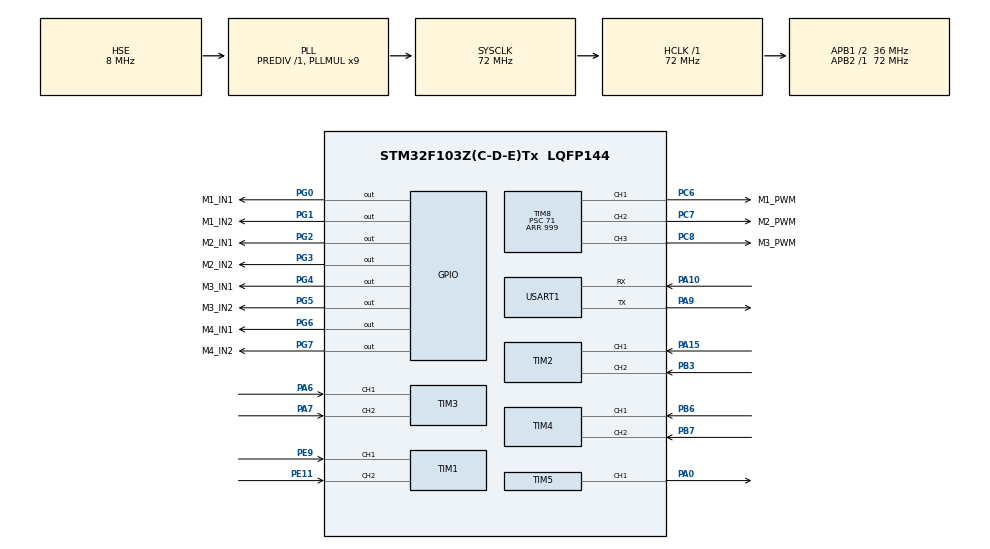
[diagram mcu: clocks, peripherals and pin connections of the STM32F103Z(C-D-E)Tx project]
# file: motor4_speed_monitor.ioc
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FREERTOS.Tasks01=defaultTask,24,128,StartDefaultTask,Default,NULL,Dynamic,NULL,NULL;MotorTask,32,256,StartMotorTask,Default,NULL,Dynamic,NULL,NULL;uartTask,8,256,StartUartTask,Default,NULL,Dynamic,NULL,NULL
Mcu.Family=STM32F1
Mcu.Name=STM32F103Z(C-D-E)Tx
Mcu.Package=LQFP144
NVIC.PriorityGroup=NVIC_PRIORITYGROUP_4
NVIC.TIM6_IRQn=true\:5\:0\:false\:false\:true\:true\:true\:true\:true
NVIC.TIM7_IRQn=true\:15\:0\:false\:false\:true\:false\:false\:true\:true
NVIC.TimeBase=TIM7_IRQn
NVIC.TimeBaseIP=TIM7
NVIC.USART1_IRQn=true\:5\:0\:false\:false\:true\:true\:true\:true\:true
OSC_IN.Mode=HSE-External-Oscillator
OSC_IN.Signal=RCC_OSC_IN
OSC_OUT.Mode=HSE-External-Oscillator
OSC_OUT.Signal=RCC_OSC_OUT
PA0-WKUP.Signal=S_TIM5_CH1
PA10.Mode=Asynchronous
PA10.Signal=USART1_RX
PA13.Mode=Serial_Wire
PA13.Signal=SYS_JTMS-SWDIO
PA14.Mode=Serial_Wire
PA14.Signal=SYS_JTCK-SWCLK
PA15.Signal=S_TIM2_CH1_ETR
PA6.Signal=S_TIM3_CH1
PA7.Signal=S_TIM3_CH2
PA9.Mode=Asynchronous
PA9.Signal=USART1_TX
PB3.Signal=S_TIM2_CH2
PB6.Signal=S_TIM4_CH1
PB7.Signal=S_TIM4_CH2
PC14-OSC32_IN.Mode=LSE-External-Oscillator
PC14-OSC32_IN.Signal=RCC_OSC32_IN
PC15-OSC32_OUT.Mode=LSE-External-Oscillator
PC15-OSC32_OUT.Signal=RCC_OSC32_OUT
PC6.GPIO_Label=M1_PWM
PC6.GPIO_Speed=GPIO_SPEED_FREQ_HIGH
PC6.Signal=S_TIM8_CH1
PC7.GPIO_Label=M2_PWM
PC7.GPIO_Speed=GPIO_SPEED_FREQ_HIGH
PC7.Signal=S_TIM8_CH2
PC8.GPIO_Label=M3_PWM
PC8.GPIO_Speed=GPIO_SPEED_FREQ_HIGH
PC8.Signal=S_TIM8_CH3
PE11.Signal=S_TIM1_CH2
PE9.Signal=S_TIM1_CH1
PG0.GPIO_Label=M1_IN1
PG0.Signal=GPIO_Output
PG1.GPIO_Label=M1_IN2
PG1.Signal=GPIO_Output
PG2.GPIO_Label=M2_IN1
PG2.Signal=GPIO_Output
PG3.GPIO_Label=M2_IN2
PG3.Signal=GPIO_Output
PG4.GPIO_Label=M3_IN1
PG4.Signal=GPIO_Output
PG5.GPIO_Label=M3_IN2
PG5.Signal=GPIO_Output
PG6.GPIO_Label=M4_IN1
PG6.Signal=GPIO_Output
PG7.GPIO_Label=M4_IN2
PG7.Signal=GPIO_Output
ProjectManager.HeapSize=0x200
ProjectManager.StackSize=0x400
ProjectManager.TargetToolchain=STM32CubeIDE
RCC.AHBFreq_Value=72000000
RCC.APB1CLKDivider=RCC_HCLK_DIV2
RCC.APB1Freq_Value=36000000
RCC.APB1TimFreq_Value=72000000
RCC.APB2Freq_Value=72000000
RCC.APB2TimFreq_Value=72000000
RCC.HCLKFreq_Value=72000000
RCC.PLLMUL=RCC_PLL_MUL9
RCC.PLLSourceVirtual=RCC_PLLSOURCE_HSE
RCC.SYSCLKFreq_VALUE=72000000
RCC.SYSCLKSource=RCC_SYSCLKSOURCE_PLLCLK
RCC.USBFreq_Value=72000000
SH.S_TIM1_CH1.0=TIM1_CH1,Encoder_Interface
SH.S_TIM1_CH2.0=TIM1_CH2,Encoder_Interface
SH.S_TIM2_CH1_ETR.0=TIM2_CH1,Encoder_Interface
SH.S_TIM2_CH2.0=TIM2_CH2,Encoder_Interface
SH.S_TIM3_CH1.0=TIM3_CH1,Encoder_Interface
SH.S_TIM3_CH2.0=TIM3_CH2,Encoder_Interface
SH.S_TIM4_CH1.0=TIM4_CH1,Encoder_Interface
SH.S_TIM4_CH2.0=TIM4_CH2,Encoder_Interface
SH.S_TIM5_CH1.0=TIM5_CH1,PWM Generation1 CH1
SH.S_TIM8_CH1.0=TIM8_CH1,PWM Generation1 CH1
SH.S_TIM8_CH2.0=TIM8_CH2,PWM Generation2 CH2
SH.S_TIM8_CH3.0=TIM8_CH3,PWM Generation3 CH3
TIM1.EncoderMode=TIM_ENCODERMODE_TI12
TIM1.IC1Filter=4
TIM1.IC2Filter=4
TIM2.EncoderMode=TIM_ENCODERMODE_TI12
TIM2.IC1Filter=4
TIM2.IC2Filter=4
TIM3.EncoderMode=TIM_ENCODERMODE_TI12
TIM3.IC1Filter=4
TIM3.IC2Filter=4
TIM4.EncoderMode=TIM_ENCODERMODE_TI12
TIM4.IC1Filter=4
TIM4.IC2Filter=4
TIM5.Channel-PWM\ Generation1\ CH1=TIM_CHANNEL_1
TIM5.Period=999
TIM5.Prescaler=71
TIM6.AutoReloadPreload=TIM_AUTORELOAD_PRELOAD_ENABLE
TIM6.Period=999
TIM6.Prescaler=7199
TIM8.AutoReloadPreload=TIM_AUTORELOAD_PRELOAD_ENABLE
TIM8.Channel-PWM\ Generation1\ CH1=TIM_CHANNEL_1
TIM8.Channel-PWM\ Generation2\ CH2=TIM_CHANNEL_2
TIM8.Channel-PWM\ Generation3\ CH3=TIM_CHANNEL_3
TIM8.Period=999
TIM8.Prescaler=71
USART1.VirtualMode=VM_ASYNC
VP_FREERTOS_VS_CMSIS_V2.Mode=CMSIS_V2
VP_SYS_VS_tim7.Mode=TIM7
VP_TIM5_VS_ClockSourceINT.Mode=Internal
VP_TIM6_VS_ClockSourceINT.Mode=Enable_Timer
VP_TIM8_VS_ClockSourceINT.Mode=Internal
board=custom

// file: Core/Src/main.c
/* USER CODE BEGIN Header */
/**
  ******************************************************************************
  * @file           : main.c
  * @brief          : Main program body
  ******************************************************************************
  * @attention
  *
  * Copyright (c) 2026 STMicroelectronics.
  * All rights reserved.
  *
  * This software is licensed under terms that can be found in the LICENSE file
  * in the root directory of this software component.
  * If no LICENSE file comes with this software, it is provided AS-IS.
  *
  ******************************************************************************
  */
/* USER CODE END Header */
#include "main.h"
#include "cmsis_os.h"
#include "tim.h"
#include "usart.h"
#include "gpio.h"

/* USER CODE BEGIN Includes */
#include<stdio.h>
#include<stdlib.h>
#include "motor.h"
/* USER CODE END Includes */

/* USER CODE BEGIN PV */
/* USER CODE BEGIN PV */

/* =========================================
 * 控制参数
 * ========================================= */

/* 控制周期 = 100ms */

/* USER CODE END PV */

void SystemClock_Config(void);
void MX_FREERTOS_Init(void);
/* USER CODE BEGIN PFP */
/* USER CODE BEGIN PFP */

void Send_Control_Data(void);

/* USER CODE END PFP */

int main(void)
{

  /* MCU Configuration--------------------------------------------------------*/

  /* Reset of all peripherals, Initializes the Flash interface and the Systick. */
  HAL_Init();

  /* Configure the system clock */
  SystemClock_Config();

  /* Initialize all configured peripherals */
  MX_GPIO_Init();
  MX_TIM1_Init();
  MX_TIM2_Init();
  MX_TIM3_Init();
  MX_TIM4_Init();
  MX_TIM6_Init();
  MX_TIM8_Init();
  MX_USART1_UART_Init();
  MX_TIM5_Init();
  /* USER CODE BEGIN 2 */
  /* USER CODE BEGIN 2 */

  /* =========================
     1. 启动四个编码器
     ========================= */

   Motor_Init();

  /* =========================
     6. 启动100ms测速中断
     =========================

  HAL_TIM_Base_Start_IT(&htim6);
  */

  /* =========================
     7. 给电脑发一句启动提示
     ========================= */

  char start_msg[] = "\r\nMotor speed monitor started!\r\n";

  HAL_UART_Transmit(&huart1,
                    (uint8_t *)start_msg,
                    sizeof(start_msg) - 1,
                    100);

  /* =========================
     8. 暂时先让四台电机30% PWM
     ARR = 999
     所以300约等于30%
     ========================= */

  /* USER CODE END 2 */

  /* Init scheduler */
  osKernelInitialize();  /* Call init function for freertos objects (in cmsis_os2.c) */
  MX_FREERTOS_Init();

  /* Start scheduler */
  osKernelStart();

  /* We should never get here as control is now taken by the scheduler */

  /* Infinite loop */
  while (1)
  {

    /* USER CODE BEGIN 3 */
	  /* USER CODE BEGIN 3 */

  }
  /* USER CODE END 3 */
}

void SystemClock_Config(void)
{
  RCC_OscInitTypeDef RCC_OscInitStruct = {0};
  RCC_ClkInitTypeDef RCC_ClkInitStruct = {0};

  /** Initializes the RCC Oscillators according to the specified parameters
  * in the RCC_OscInitTypeDef structure.
  */
  RCC_OscInitStruct.OscillatorType = RCC_OSCILLATORTYPE_HSE;
  RCC_OscInitStruct.HSEState = RCC_HSE_ON;
  RCC_OscInitStruct.HSEPredivValue = RCC_HSE_PREDIV_DIV1;
  RCC_OscInitStruct.HSIState = RCC_HSI_ON;
  RCC_OscInitStruct.PLL.PLLState = RCC_PLL_ON;
  RCC_OscInitStruct.PLL.PLLSource = RCC_PLLSOURCE_HSE;
  RCC_OscInitStruct.PLL.PLLMUL = RCC_PLL_MUL9;
  if (HAL_RCC_OscConfig(&RCC_OscInitStruct) != HAL_OK)
  {
    Error_Handler();
  }

  /** Initializes the CPU, AHB and APB buses clocks
  */
  RCC_ClkInitStruct.ClockType = RCC_CLOCKTYPE_HCLK|RCC_CLOCKTYPE_SYSCLK
                              |RCC_CLOCKTYPE_PCLK1|RCC_CLOCKTYPE_PCLK2;
  RCC_ClkInitStruct.SYSCLKSource = RCC_SYSCLKSOURCE_PLLCLK;
  RCC_ClkInitStruct.AHBCLKDivider = RCC_SYSCLK_DIV1;
  RCC_ClkInitStruct.APB1CLKDivider = RCC_HCLK_DIV2;
  RCC_ClkInitStruct.APB2CLKDivider = RCC_HCLK_DIV1;

  if (HAL_RCC_ClockConfig(&RCC_ClkInitStruct, FLASH_LATENCY_2) != HAL_OK)
  {
    Error_Handler();
  }
}

/* USER CODE BEGIN 4 */
/* USER CODE BEGIN 4 */

/* ============================================================
   电机PWM控制
   pwm范围：0 ~ 999
   ============================================================ */

/* ============================================================
   TIM6每100ms调用一次

   做的事情：

   1. 读取四个编码器
   2. 保存100ms内计数
   3. 把计数器重新清零
   4. 告诉main()：有新数据了
   ============================================================ */

/* USER CODE END 4 */

void HAL_TIM_PeriodElapsedCallback(TIM_HandleTypeDef *htim)
{
  if (htim->Instance == TIM7)
  {
    HAL_IncTick();
  }
}

void Error_Handler(void)
{
  __disable_irq();
  while (1)
  {
  }
}

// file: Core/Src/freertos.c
/* USER CODE BEGIN Header */
/**
  ******************************************************************************
  * File Name          : freertos.c
  * Description        : Code for freertos applications
  ******************************************************************************
  * @attention
  *
  * Copyright (c) 2026 STMicroelectronics.
  * All rights reserved.
  *
  * This software is licensed under terms that can be found in the LICENSE file
  * in the root directory of this software component.
  * If no LICENSE file comes with this software, it is provided AS-IS.
  *
  ******************************************************************************
  */
/* USER CODE END Header */

#include "FreeRTOS.h"
#include "task.h"
#include "main.h"
#include "cmsis_os.h"

/* USER CODE BEGIN Includes */
/* USER CODE BEGIN Includes */

#include "motor.h"
#include "usart.h"
#include <stdio.h>
#include <stdlib.h>
#include "robot.h"
/* USER CODE END Includes */

/* USER CODE BEGIN PD */
#define UART_FRAME_BUFFER_SIZE  64U
/* Equivalent to the previous 150 count/100 ms command, unit: m/s. */
#define DEFAULT_WHEEL_SPEED_MPS  0.0169575f

/* USER CODE END PD */

/* USER CODE BEGIN Variables */
static uint8_t uart_rx_byte;

static volatile uint8_t uart_last_cmd = 0;

static volatile uint8_t uart_cmd_ready = 0;

/* 串口协议帧缓冲区 */
static volatile char uart_frame_buffer[UART_FRAME_BUFFER_SIZE];

/* 当前正在接收的位置 */
static volatile uint8_t uart_frame_index = 0;

/* 是否已经收到完整的一帧 */
static volatile uint8_t uart_frame_ready = 0;
/* ==============================
 * 调试观察变量
 * ============================== */

/* USART实际收到的最后一个字符 */
volatile uint8_t debug_last_rx_cmd = 0;

/* USART接收完成次数 */
volatile uint32_t debug_rx_count = 0;

/* 命令任务处理次数 */
volatile uint32_t debug_cmd_count = 0;

/* UART错误次数 */
volatile uint32_t debug_uart_error_count = 0;

/* USER CODE END Variables */
/* Definitions for defaultTask */
osThreadId_t defaultTaskHandle;
const osThreadAttr_t defaultTask_attributes = {
  .name = "defaultTask",
  .stack_size = 128 * 4,
  .priority = (osPriority_t) osPriorityNormal,
};
/* Definitions for MotorTask */
osThreadId_t MotorTaskHandle;
const osThreadAttr_t MotorTask_attributes = {
  .name = "MotorTask",
  .stack_size = 256 * 4,
  .priority = (osPriority_t) osPriorityAboveNormal,
};
/* Definitions for uartTask */
osThreadId_t uartTaskHandle;
const osThreadAttr_t uartTask_attributes = {
  .name = "uartTask",
  .stack_size = 256 * 4,
  .priority = (osPriority_t) osPriorityLow,
};

void StartDefaultTask(void *argument);
void StartMotorTask(void *argument);
void StartUartTask(void *argument);

static int ParseSpeedFrame(
    const char *frame,
    float speed[4])
{
    const char *p;
    char *end;

    p = frame;

    if ((p[0] != 'V') || (p[1] != ','))
    {
        return 0;
    }

    p += 2;

    for (int i = 0; i < 4; i++)
    {
        speed[i] = strtof(p, &end);

        if (end == p)
        {
            return 0;
        }

        if (i < 3)
        {
            if (*end != ',')
            {
                return 0;
            }

            p = end + 1;
        }
        else
        {
            if ((*end != '\0')
                && (*end != '\r')
                && (*end != '\n'))
            {
                return 0;
            }
        }
    }

    return 1;
}

void MX_FREERTOS_Init(void); /* (MISRA C 2004 rule 8.1) */

void MX_FREERTOS_Init(void) {

  /* Create the thread(s) */
  /* creation of defaultTask */
  defaultTaskHandle = osThreadNew(StartDefaultTask, NULL, &defaultTask_attributes);

  /* creation of MotorTask */
  MotorTaskHandle = osThreadNew(StartMotorTask, NULL, &MotorTask_attributes);

  /* creation of uartTask */
  uartTaskHandle = osThreadNew(StartUartTask, NULL, &uartTask_attributes);

}

void StartDefaultTask(void *argument)
{
    /* 开始等待USART1接收1个字节 */
    HAL_UART_Receive_IT(
        &huart1,
        &uart_rx_byte,
        1
    );

    for (;;)
    {
        /*
         * 处理一帧四轮 m/s 速度数据
         */
        if (uart_frame_ready)
        {
            char frame_copy[UART_FRAME_BUFFER_SIZE];

            float parsed_speed[4];
            int parsed_ok;

            /*
             * 先复制数据，避免解析时被串口中断修改
             */
            for (int i = 0;
                 i < UART_FRAME_BUFFER_SIZE;
                 i++)
            {
                frame_copy[i] =
                    uart_frame_buffer[i];

                if (frame_copy[i] == '\0')
                {
                    break;
                }
            }

            uart_frame_ready = 0U;

            /*
             * 解析：
             * V,M1,M2,M3,M4
             */
            parsed_ok =
                ParseSpeedFrame(
                    frame_copy,
                    parsed_speed
                );

            /*
             * 必须成功解析出四个速度
             */
            if (parsed_ok)
            {
                Motor_SetTargetMps(1, parsed_speed[0]);
                Motor_SetTargetMps(2, parsed_speed[1]);
                Motor_SetTargetMps(3, parsed_speed[2]);
                Motor_SetTargetMps(4, parsed_speed[3]);
            }
        }
        if (uart_cmd_ready)
        {
           debug_cmd_count++;
            uint8_t cmd = uart_last_cmd;

            uart_cmd_ready = 0;

            switch (cmd)
            {
                /* 前进 */
                case 'W':
                case 'w':
                    Robot_Forward(DEFAULT_WHEEL_SPEED_MPS);
                    break;

                /* 后退 */
                case 'S':
                case 's':
                    Robot_Backward(DEFAULT_WHEEL_SPEED_MPS);
                    break;

                /* 左移 */
                case 'A':
                case 'a':
                    Robot_Left(DEFAULT_WHEEL_SPEED_MPS);
                    break;

                /* 右移 */
                case 'D':
                case 'd':
                    Robot_Right(DEFAULT_WHEEL_SPEED_MPS);
                    break;

                /* 原地左转 */
                case 'Q':
                case 'q':
                    Robot_TurnLeft(DEFAULT_WHEEL_SPEED_MPS);
                    break;

                /* 原地右转 */
                case 'E':
                case 'e':
                    Robot_TurnRight(DEFAULT_WHEEL_SPEED_MPS);
                    break;

                /* 停止 */
                case 'X':
                case 'x':
                    Robot_Stop();
                    break;

                default:
                    break;
            }
        }

        osDelay(5);
    }
}

void StartMotorTask(void *argument)
{
    TickType_t lastWakeTime;

    lastWakeTime = xTaskGetTickCount();

    for (;;)
    {
        /* 每100ms执行一次完整电机闭环控制 */
        Motor_ControlStep();

        vTaskDelayUntil(
            &lastWakeTime,
            pdMS_TO_TICKS(100)
        );
    }
}

void StartUartTask(void *argument)
{
  for(;;)
  {
    osDelay(1);
  }
}

/* USER CODE BEGIN Application */
void HAL_UART_RxCpltCallback(
    UART_HandleTypeDef *huart)
{
    if (huart->Instance == USART1)
    {
        char received_byte;

        received_byte =
            (char)uart_rx_byte;

        debug_last_rx_cmd =
            uart_rx_byte;

        debug_rx_count++;

        /*
         * 一帧结束：
         * V,0.01,0.01,0.01,0.01\n
         */
        if (received_byte == '\n')
        {
            if ((uart_frame_index > 0U)
                && (uart_frame_ready == 0U))
            {
                uart_frame_buffer[uart_frame_index] =
                    '\0';

                uart_frame_ready = 1U;
                uart_frame_index = 0U;
            }
        }

        /*
         * 忽略 Windows 风格换行中的 \r
         */
        else if (received_byte == '\r')
        {
            /* 不处理 */
        }

        /*
         * 兼容原来的单字节按键命令
         */
        else if (uart_frame_index == 0U)
        {
            switch (received_byte)
            {
                case 'W':
                case 'w':
                case 'S':
                case 's':
                case 'A':
                case 'a':
                case 'D':
                case 'd':
                case 'Q':
                case 'q':
                case 'E':
                case 'e':
                case 'X':
                case 'x':

                    uart_last_cmd =
                        (uint8_t)received_byte;

                    uart_cmd_ready = 1U;
                    break;

                default:

                    if (uart_frame_ready == 0U)
                    {
                        if (uart_frame_index
                            < (UART_FRAME_BUFFER_SIZE - 1U))
                        {
                            uart_frame_buffer[
                                uart_frame_index
                            ] = received_byte;

                            uart_frame_index++;
                        }
                        else
                        {
                            /*
                             * 缓冲区溢出，丢弃当前帧
                             */
                            uart_frame_index = 0U;
                        }
                    }

                    break;
            }
        }

        /*
         * 正在接收 V,... 数字帧
         */
        else if (uart_frame_ready == 0U)
        {
            if (uart_frame_index
                < (UART_FRAME_BUFFER_SIZE - 1U))
            {
                uart_frame_buffer[
                    uart_frame_index
                ] = received_byte;

                uart_frame_index++;
            }
            else
            {
                /*
                 * 缓冲区溢出，丢弃当前帧
                 */
                uart_frame_index = 0U;
            }
        }

        /*
         * 继续接收下一个字节
         */
        HAL_UART_Receive_IT(
            &huart1,
            &uart_rx_byte,
            1
        );
    }
}

void HAL_UART_ErrorCallback(UART_HandleTypeDef *huart)
{
    if (huart->Instance == USART1)
    {
        HAL_UART_AbortReceive_IT(huart);

        HAL_UART_Receive_IT(
            &huart1,
            &uart_rx_byte,
            1
        );
    }
}
/* USER CODE END Application */
